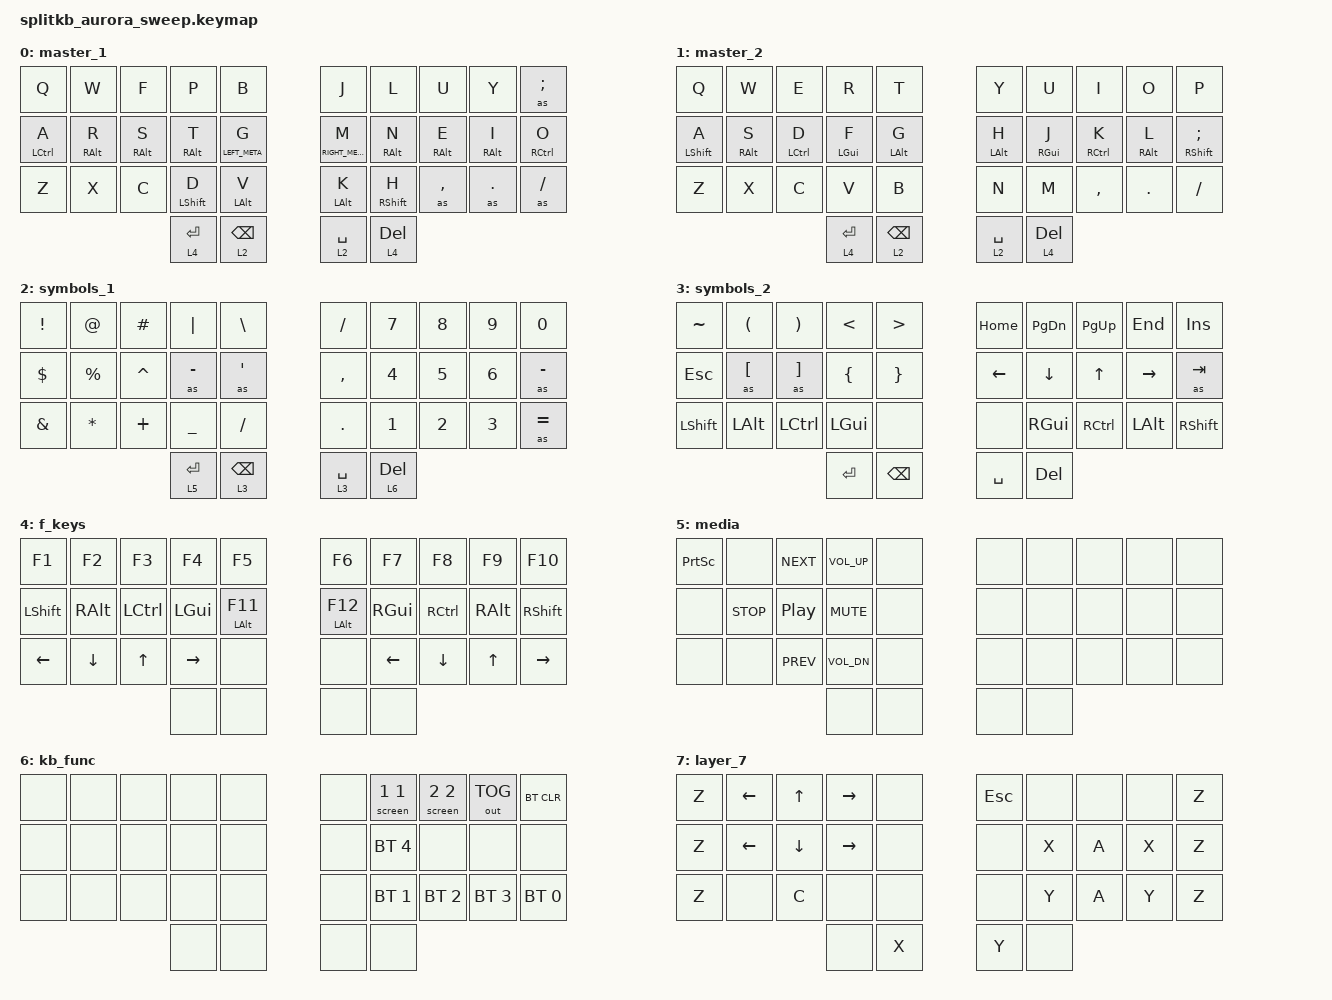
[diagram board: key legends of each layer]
/*
 * Copyright (c) 2020 The ZMK Contributors
 *
 * SPDX-License-Identifier: MIT
 */

#include <behaviors.dtsi>
#include <dt-bindings/zmk/bt.h>
#include <dt-bindings/zmk/keys.h>
#include <dt-bindings/zmk/outputs.h>

#define     MASTER_1     0
#define     MASTER_2     1
#define     SYM_1        2
#define     SYM_2        3
#define     F_KEYS       4
#define     MEDIA        5
#define     KB_FUNK      6

&lt {
    compatible = "zmk,behavior-hold-tap";
    flavor = "hold-preferred";
    tapping-term-ms = <190>;
};

&caps_word { continue-list = <UNDERSCORE MINUS BSPC DEL N1 N2 N3 N4 N5 N6 N7 N8 N9 N0>; };

/ {
    behaviors {
        gqt: homerow_mods {
            compatible = "zmk,behavior-hold-tap";
            label = "HOMEROW_MODS";
            #binding-cells = <2>;
            tapping-term-ms = <200>;
            quick-tap-ms = <0>;
            flavor = "balanced";
            bindings = <&kp>, <&kp>;
        };

        as_ht: autoshift_hold_tap {
            compatible = "zmk,behavior-hold-tap";
            label = "AUTOSHIFT_HOLD_TAP";
            #binding-cells = <2>;
            tapping-term-ms = <175>;
            bindings = <&shifted>, <&kp>;

            flavor = "tap-preferred";
        };

        ara_ht: autoralt_hold_tap {
            compatible = "zmk,behavior-hold-tap";
            label = "AUTORALT_HOLD_TAP";
            #binding-cells = <2>;
            tapping-term-ms = <175>;
            bindings = <&ralted>, <&kp>;

            flavor = "tap-preferred";
        };
    };

    combos {
        compatible = "zmk,combos";

        caps_word {
            bindings = <&caps_word>;
            key-positions = <10 19>;
            layers = <0 1>;
        };

        colmak {
            bindings = <&to 0>;
            key-positions = <4 5>;
            layers = <1 7>;
        };

        qwerty {
            bindings = <&to 1>;
            key-positions = <4 5>;
            layers = <0>;
        };

        tab {
            bindings = <&kp TAB>;
            key-positions = <12 13>;
            layers = <0 1 2 3 4 5 6>;
        };

        esc {
            bindings = <&kp ESCAPE>;
            key-positions = <2 3>;
            layers = <0 2 3 1 4 5 6>;
        };

        tab_2 {
            bindings = <&kp TAB>;
            key-positions = <16 17>;
            layers = <0 1 2 3 4 5 6>;
        };

        esc_2 {
            bindings = <&kp ESCAPE>;
            key-positions = <6 7>;
            layers = <0 1 2 3 4 5 6>;
        };
    };

    macros {
        screen: screen1 {
            label = "ZM_screen";
            compatible = "zmk,behavior-macro-two-param";
            #binding-cells = <2>; // Must be 2
            bindings =
                <&bt BT_SEL 1>,
                <&macro_press>,
                <&kp LGUI>,
                <&macro_tap>,
                <&kp R>,
                <&macro_release>,
                <&kp LGUI>,
                <&macro_wait_time 250>,
                <&macro_param_1to1>,
                <&macro_tap>,
                <&kp MACRO_PLACEHOLDER>,
                <&macro_tap>,
                <&kp ESC &macro_param_2to2 &bt BT_SEL MACRO_PLACEHOLDER>;
        };

        shifted: macro_shifted_kp {
            #binding-cells = <1>;
            label = "MACRO_SHIFTED_KP";
            compatible = "zmk,behavior-macro-one-param";
            bindings =
                <&macro_press>,
                <&kp LSHFT &macro_param_1to1>,
                <&macro_tap>,
                <&kp MACRO_PLACEHOLDER>,
                <&macro_release>,
                <&kp LSHFT>;
        };

        as: autoshift {
            compatible = "zmk,behavior-macro-one-param";
            #binding-cells = <1>;
            label = "AUTOSHIFT_KP";
            bindings =
                <&macro_press>,
                <&macro_param_1to1 &macro_param_1to2 &as_ht MACRO_PLACEHOLDER MACRO_PLACEHOLDER>,
                <&macro_pause_for_release>,
                <&macro_release>,
                <&macro_param_1to1 &macro_param_1to2 &as_ht MACRO_PLACEHOLDER MACRO_PLACEHOLDER>;
        };

        ralted: macro_ralted_kp {
            #binding-cells = <1>;
            label = "MACRO_RALTED_KP";
            compatible = "zmk,behavior-macro-one-param";
            bindings =
                <&macro_press>,
                <&kp RIGHT_ALT &macro_param_1to1>,
                <&macro_tap>,
                <&kp MACRO_PLACEHOLDER>,
                <&macro_release>,
                <&kp RIGHT_ALT>;
        };

        ara: autoralt {
            compatible = "zmk,behavior-macro-one-param";
            #binding-cells = <1>;
            label = "AUTORALT_KP";
            bindings =
                <&macro_press>,
                <&macro_param_1to1 &macro_param_1to2 &ara_ht MACRO_PLACEHOLDER MACRO_PLACEHOLDER>,
                <&macro_pause_for_release>,
                <&macro_release>,
                <&macro_param_1to1 &macro_param_1to2 &ara_ht MACRO_PLACEHOLDER MACRO_PLACEHOLDER>;
        };
    };

    keymap {
        compatible = "zmk,keymap";

        master_1 {
            bindings = <
&kp Q         &kp W             &kp F             &kp P              &kp B             &kp J              &kp L               &kp U        &kp Y             &as SEMICOLON
&gqt LCTRL A  &gqt RIGHT_ALT R  &gqt RIGHT_ALT S  &gqt RIGHT_ALT T   &gqt LEFT_META G  &gqt RIGHT_META M  &gqt RIGHT_ALT N    &gqt RALT E  &gqt RIGHT_ALT I  &gqt RIGHT_CONTROL O
&kp Z         &kp X             &kp C             &gqt LEFT_SHIFT D  &gqt LEFT_ALT V   &gqt LEFT_ALT K    &gqt RIGHT_SHIFT H  &as COMMA    &as PERIOD        &as SLASH
                                                  &lt 4 ENTER        &lt 2 BACKSPACE   &lt 2 SPACE        &lt 4 DELETE
            >;
        };

        master_2 {
            bindings = <
&kp Q              &kp W        &kp E         &kp R        &kp T            &kp Y        &kp U         &kp I         &kp O        &kp P
&gqt LEFT_SHIFT A  &gqt RALT S  &gqt LCTRL D  &gqt LGUI F  &gqt LALT G      &gqt LALT H  &gqt RGUI J   &gqt RCTRL K  &gqt RALT L  &gqt RIGHT_SHIFT SEMICOLON
&kp Z              &kp X        &kp C         &kp V        &kp B            &kp N        &kp M         &kp COMMA     &kp DOT      &kp SLASH
                                              &lt 4 ENTER  &lt 2 BACKSPACE  &lt 2 SPACE  &lt 4 DELETE
            >;
        };

        symbols_1 {
            bindings = <
&kp EXCLAMATION  &kp AT       &kp HASH   &kp PIPE        &kp BSLH         &kp FSLH     &kp N7        &kp N8  &kp N9        &kp N0
&kp DOLLAR       &kp PERCENT  &kp CARET  &as MINUS       &as SQT          &kp COMMA    &kp NUMBER_4  &kp N5  &kp NUMBER_6  &as MINUS
&kp AMPS         &kp STAR     &kp PLUS   &kp UNDERSCORE  &kp SLASH        &kp PERIOD   &kp N1        &kp N2  &kp N3        &as EQUAL
                                         &lt 5 ENTER     &lt 3 BACKSPACE  &lt 3 SPACE  &lt 6 DEL
            >;
        };

        symbols_2 {
            bindings = <
&kp TILDE  &kp LEFT_PARENTHESIS  &kp RIGHT_PARENTHESIS  &kp LT          &kp GT           &kp HOME   &kp PG_DN  &kp PG_UP  &kp END    &kp INS
&kp ESC    &as LEFT_BRACKET      &as RIGHT_BRACKET      &kp LEFT_BRACE  &kp RIGHT_BRACE  &kp LEFT   &kp DOWN   &kp UP     &kp RIGHT  &as TAB
&kp LSHFT  &kp LALT              &kp LCTRL              &kp LGUI        &none            &none      &kp RGUI   &kp RCTRL  &kp LALT   &kp RIGHT_SHIFT
                                                        &kp ENTER       &kp BACKSPACE    &kp SPACE  &kp DEL
            >;
        };

        f_keys {
            bindings = <
&kp F1     &kp F2    &kp F3     &kp F4     &kp F5             &kp F6             &kp F7    &kp F8     &kp F9    &kp F10
&kp LSHFT  &kp RALT  &kp LCTRL  &kp LGUI   &gqt LEFT_ALT F11  &gqt LEFT_ALT F12  &kp RGUI  &kp RCTRL  &kp RALT  &kp RSHFT
&kp LEFT   &kp DOWN  &kp UP     &kp RIGHT  &none              &none              &kp LEFT  &kp DOWN   &kp UP    &kp RIGHT
                                &none      &none              &none              &none
            >;
        };

        media {
            bindings = <
&kp PRINTSCREEN  &none       &kp C_NEXT        &kp C_VOLUME_UP  &none  &none  &none  &none  &none  &none
&none            &kp C_STOP  &kp C_PLAY_PAUSE  &kp K_MUTE       &none  &none  &none  &none  &none  &none
&none            &none       &kp C_PREV        &kp C_VOL_DN     &none  &none  &none  &none  &none  &none
                                               &none            &none  &none  &none
            >;
        };

        kb_func {
            bindings = <
&none  &none  &none  &none  &none  &none  &screen N1 1  &screen N2 2  &out OUT_TOG  &bt BT_CLR
&none  &none  &none  &none  &none  &none  &bt BT_SEL 4  &none         &none         &none
&none  &none  &none  &none  &none  &none  &bt BT_SEL 1  &bt BT_SEL 2  &bt BT_SEL 3  &bt BT_SEL 0
                     &none  &none  &none  &none
            >;
        };

        layer_7 {
            bindings = <
&kp Z  &kp LEFT  &kp UP_ARROW  &kp RIGHT  &none  &kp ESC  &none  &none  &none  &kp Z
&kp Z  &kp LEFT  &kp DOWN      &kp RIGHT  &none  &none    &kp X  &kp A  &kp X  &kp Z
&kp Z  &none     &kp C         &none      &none  &none    &kp Y  &kp A  &kp Y  &kp Z
                               &none      &kp X  &kp Y    &none
            >;
        };
    };
};
